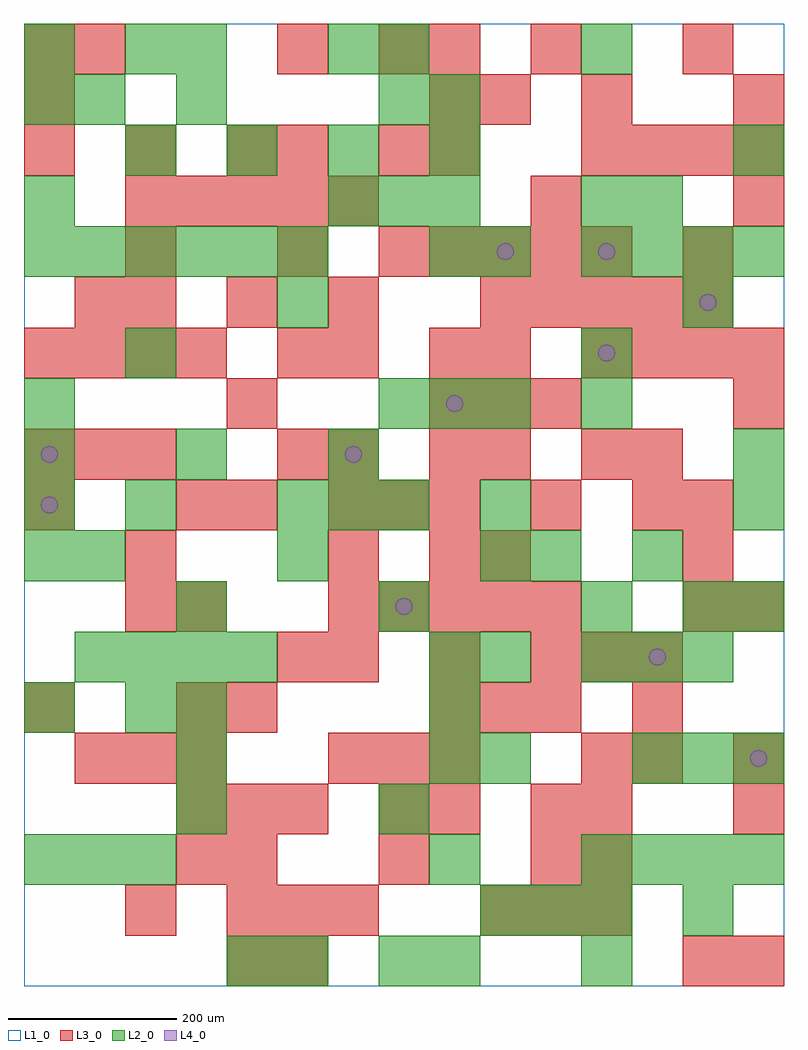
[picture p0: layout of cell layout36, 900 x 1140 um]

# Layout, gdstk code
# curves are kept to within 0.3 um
import gdstk
lib = gdstk.Library(unit=1e-6, precision=1e-09)
def R(c, l, rs):  # rectangles x0, y0, x1, y1
    for r in rs: c.add(gdstk.rectangle(r[:2], r[2:], *l))
def A(c, l, x, y, w, h, nx, ny, dx, dy):  # array of equal rectangles
    R(c, l, [(x+i*dx, y+j*dy, x+i*dx+w, y+j*dy+h) for i in range(nx) for j in range(ny)])
def P(c, l, *ps):  # polygons
    for p in ps: c.add(gdstk.Polygon(p, *l))
L1_0 = (1, 0)
L2_0 = (2, 0)
L3_0 = (3, 0)
L4_0 = (4, 0)

layout36 = lib.new_cell('layout36')
R(layout36, L1_0, [(0,0,900,1140)])
A(layout36, L2_0, 480, 0, 60, 60, 1, 3, 0, 120)
A(layout36, L2_0, 540, 60, 60, 60, 3, 1, 60, 0)
A(layout36, L2_0, 780, 60, 60, 60, 1, 3, 0, 360)
A(layout36, L2_0, 0, 120, 60, 60, 3, 1, 60, 0)
A(layout36, L2_0, 660, 120, 60, 60, 4, 2, 60, 720)
A(layout36, L2_0, 180, 180, 60, 60, 1, 3, 0, 60)
A(layout36, L2_0, 720, 240, 60, 60, 3, 1, 60, 0)
A(layout36, L2_0, 60, 360, 60, 60, 4, 1, 60, 0)
A(layout36, L2_0, 660, 360, 60, 60, 3, 1, 60, 0)
A(layout36, L2_0, 180, 420, 60, 60, 3, 1, 240, 0)
A(layout36, L2_0, 60, 480, 60, 60, 3, 1, 240, 0)
A(layout36, L2_0, 300, 540, 60, 60, 3, 1, 60, 0)
A(layout36, L2_0, 0, 600, 60, 60, 3, 1, 180, 0)
A(layout36, L2_0, 420, 660, 60, 60, 3, 1, 60, 0)
A(layout36, L2_0, 660, 720, 60, 60, 1, 3, 0, 180)
A(layout36, L2_0, 0, 840, 60, 60, 6, 1, 60, 0)
A(layout36, L2_0, 360, 900, 60, 60, 3, 1, 60, 0)
A(layout36, L2_0, 120, 960, 60, 60, 4, 1, 120, 0)
R(layout36, L2_0, [(240,0,300,60), (300,0,360,60), (420,0,480,60), (660,0,720,60), (420,180,480,240), (540,240,600,300), (0,300,60,360), (120,300,180,360), (480,300,540,360), (480,360,540,420), (540,360,600,420), (840,420,900,480), (0,480,60,540), (600,480,660,540), (720,480,780,540), (0,540,60,600), (120,540,180,600), (540,540,600,600), (840,540,900,600), (840,600,900,660), (0,660,60,720), (660,660,720,720), (120,720,180,780), (300,780,360,840), (480,840,540,900), (540,840,600,900), (0,900,60,960), (720,900,780,960), (840,960,900,1020), (0,1020,60,1080), (60,1020,120,1080), (180,1020,240,1080), (420,1020,480,1080), (480,1020,540,1080), (0,1080,60,1140), (120,1080,180,1140), (180,1080,240,1140), (360,1080,420,1140), (420,1080,480,1140)])
A(layout36, L3_0, 240, 60, 60, 60, 3, 1, 60, 0)
A(layout36, L3_0, 540, 60, 60, 60, 3, 1, 60, 0)
A(layout36, L3_0, 240, 120, 60, 60, 3, 1, 180, 0)
A(layout36, L3_0, 660, 120, 60, 60, 1, 3, 0, 60)
A(layout36, L3_0, 180, 180, 60, 60, 3, 1, 60, 0)
A(layout36, L3_0, 600, 180, 60, 60, 1, 3, 0, 360)
A(layout36, L3_0, 60, 240, 60, 60, 3, 1, 60, 0)
A(layout36, L3_0, 360, 240, 60, 60, 3, 2, 60, 300)
A(layout36, L3_0, 720, 240, 60, 60, 1, 3, 0, 60)
A(layout36, L3_0, 180, 300, 60, 60, 1, 3, 0, 120)
A(layout36, L3_0, 480, 300, 60, 60, 3, 2, 60, 360)
A(layout36, L3_0, 360, 360, 60, 60, 3, 1, 120, 0)
A(layout36, L3_0, 360, 420, 60, 60, 5, 1, 60, 0)
A(layout36, L3_0, 780, 420, 60, 60, 1, 3, 0, 60)
A(layout36, L3_0, 840, 420, 60, 60, 1, 3, 0, 240)
A(layout36, L3_0, 360, 480, 60, 60, 1, 3, 0, 120)
A(layout36, L3_0, 480, 480, 60, 60, 1, 3, 0, 120)
A(layout36, L3_0, 540, 480, 60, 60, 1, 3, 0, 120)
A(layout36, L3_0, 0, 600, 60, 60, 3, 1, 60, 0)
A(layout36, L3_0, 300, 600, 60, 60, 1, 5, 0, 120)
A(layout36, L3_0, 0, 720, 60, 60, 4, 1, 60, 0)
A(layout36, L3_0, 660, 720, 60, 60, 4, 2, 60, 240)
A(layout36, L3_0, 120, 780, 60, 60, 3, 1, 120, 0)
A(layout36, L3_0, 540, 780, 60, 60, 5, 1, 60, 0)
A(layout36, L3_0, 420, 840, 60, 60, 5, 1, 60, 0)
A(layout36, L3_0, 120, 900, 60, 60, 5, 1, 60, 0)
A(layout36, L3_0, 0, 960, 60, 60, 3, 1, 120, 0)
A(layout36, L3_0, 480, 960, 60, 60, 1, 3, 0, 60)
R(layout36, L3_0, [(240,0,300,60), (300,0,360,60), (780,0,840,60), (840,0,900,60), (120,60,180,120), (180,120,240,180), (420,180,480,240), (480,180,540,240), (840,180,900,240), (840,240,900,300), (0,300,60,360), (240,300,300,360), (300,360,360,420), (660,360,720,420), (120,420,180,480), (120,480,180,540), (0,540,60,600), (240,540,300,600), (720,540,780,600), (660,600,720,660), (720,600,780,660), (240,660,300,720), (60,780,120,840), (120,840,180,900), (780,840,840,900), (420,960,480,1020), (0,1020,60,1080), (540,1020,600,1080), (660,1020,720,1080), (840,1020,900,1080), (0,1080,60,1140), (60,1080,120,1140), (420,1080,480,1140), (600,1080,660,1140), (780,1080,840,1140)])
P(layout36, L4_0, [(40,570),(39.239,573.827),(37.071,577.071),(33.827,579.239),(30,580),(26.173,579.239),(22.929,577.071),(20.761,573.827),(20,570),(20.761,566.173),(22.929,562.929),(26.173,560.761),(30,560),(33.827,560.761),(37.071,562.929),(39.239,566.173)],
  [(40,630),(39.239,633.827),(37.071,637.071),(33.827,639.239),(30,640),(26.173,639.239),(22.929,637.071),(20.761,633.827),(20,630),(20.761,626.173),(22.929,622.929),(26.173,620.761),(30,620),(33.827,620.761),(37.071,622.929),(39.239,626.173)],
  [(400,630),(399.239,633.827),(397.071,637.071),(393.827,639.239),(390,640),(386.173,639.239),(382.929,637.071),(380.761,633.827),(380,630),(380.761,626.173),(382.929,622.929),(386.173,620.761),(390,620),(393.827,620.761),(397.071,622.929),(399.239,626.173)],
  [(460,450),(459.239,453.827),(457.071,457.071),(453.827,459.239),(450,460),(446.173,459.239),(442.929,457.071),(440.761,453.827),(440,450),(440.761,446.173),(442.929,442.929),(446.173,440.761),(450,440),(453.827,440.761),(457.071,442.929),(459.239,446.173)],
  [(520,690),(519.239,693.827),(517.071,697.071),(513.827,699.239),(510,700),(506.173,699.239),(502.929,697.071),(500.761,693.827),(500,690),(500.761,686.173),(502.929,682.929),(506.173,680.761),(510,680),(513.827,680.761),(517.071,682.929),(519.239,686.173)],
  [(580,870),(579.239,873.827),(577.071,877.071),(573.827,879.239),(570,880),(566.173,879.239),(562.929,877.071),(560.761,873.827),(560,870),(560.761,866.173),(562.929,862.929),(566.173,860.761),(570,860),(573.827,860.761),(577.071,862.929),(579.239,866.173)],
  [(700,750),(699.239,753.827),(697.071,757.071),(693.827,759.239),(690,760),(686.173,759.239),(682.929,757.071),(680.761,753.827),(680,750),(680.761,746.173),(682.929,742.929),(686.173,740.761),(690,740),(693.827,740.761),(697.071,742.929),(699.239,746.173)],
  [(700,870),(699.239,873.827),(697.071,877.071),(693.827,879.239),(690,880),(686.173,879.239),(682.929,877.071),(680.761,873.827),(680,870),(680.761,866.173),(682.929,862.929),(686.173,860.761),(690,860),(693.827,860.761),(697.071,862.929),(699.239,866.173)],
  [(760,390),(759.239,393.827),(757.071,397.071),(753.827,399.239),(750,400),(746.173,399.239),(742.929,397.071),(740.761,393.827),(740,390),(740.761,386.173),(742.929,382.929),(746.173,380.761),(750,380),(753.827,380.761),(757.071,382.929),(759.239,386.173)],
  [(820,810),(819.239,813.827),(817.071,817.071),(813.827,819.239),(810,820),(806.173,819.239),(802.929,817.071),(800.761,813.827),(800,810),(800.761,806.173),(802.929,802.929),(806.173,800.761),(810,800),(813.827,800.761),(817.071,802.929),(819.239,806.173)],
  [(880,270),(879.239,273.827),(877.071,277.071),(873.827,279.239),(870,280),(866.173,279.239),(862.929,277.071),(860.761,273.827),(860,270),(860.761,266.173),(862.929,262.929),(866.173,260.761),(870,260),(873.827,260.761),(877.071,262.929),(879.239,266.173)])

lib.write_gds('layout36.gds')
